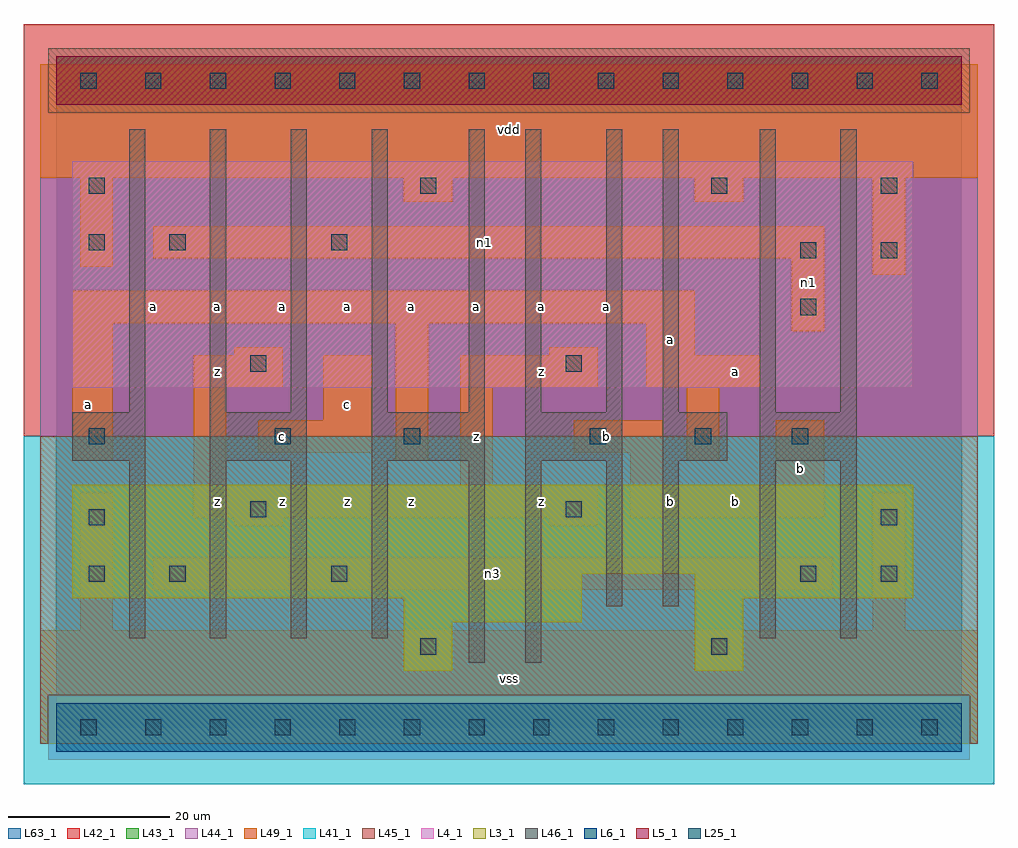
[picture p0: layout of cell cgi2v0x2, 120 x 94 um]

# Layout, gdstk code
import gdstk
lib = gdstk.Library(unit=1e-6, precision=1e-09)
def R(c, l, rs):  # rectangles x0, y0, x1, y1
    for r in rs: c.add(gdstk.rectangle(r[:2], r[2:], *l))
def A(c, l, x, y, w, h, nx, ny, dx, dy):  # array of equal rectangles
    R(c, l, [(x+i*dx, y+j*dy, x+i*dx+w, y+j*dy+h) for i in range(nx) for j in range(ny)])
L3_1 = (3, 1)
L4_1 = (4, 1)
L5_1 = (5, 1)
L6_1 = (6, 1)
L25_1 = (25, 1)
L41_1 = (41, 1)
L42_1 = (42, 1)
L43_1 = (43, 1)
L44_1 = (44, 1)
L45_1 = (45, 1)
L46_1 = (46, 1)
L49_1 = (49, 1)
L63_1 = (63, 1)

cgi2v0x2 = lib.new_cell('cgi2v0x2')
R(cgi2v0x2, L3_1, [(43,7,49,13), (79,7,85,16), (43,13,65,16), (2,16,65,19), (79,16,106,19), (2,19,106,30)])
R(cgi2v0x2, L4_1, [(2,42,106,70)])
R(cgi2v0x2, L5_1, [(0,77,112,83)])
R(cgi2v0x2, L6_1, [(0,-3,112,3), (0,-3,112,3)])
A(cgi2v0x2, L25_1, 3, -1, 2, 2, 14, 2, 8, 80)
R(cgi2v0x2, L25_1, [(45,9,47,11), (81,9,83,11), (4,18,6,20), (14,18,16,20), (34,18,36,20), (92,18,94,20), (102,18,104,20), (4,25,6,27), (102,25,104,27), (24,26,26,28), (63,26,65,28), (4,35,6,37), (27,35,29,37), (43,35,45,37), (66,35,68,37), (79,35,81,37), (91,35,93,37), (24,44,26,46), (63,44,65,46), (92,51,94,53), (92,58,94,60), (102,58,104,60), (4,59,6,61), (14,59,16,61), (34,59,36,61), (4,66,6,68), (45,66,47,68), (81,66,83,68), (102,66,104,68)])
R(cgi2v0x2, L41_1, [(-4,-7,116,36)])
R(cgi2v0x2, L42_1, [(-4,36,116,87)])
R(cgi2v0x2, L43_1, [(0,-3,112,3), (43,7,49,13), (79,7,85,16), (43,13,65,16), (2,16,65,19), (79,16,106,19), (2,19,106,30), (2,42,106,70), (0,77,112,83)])
R(cgi2v0x2, L44_1, [(-1,-4,113,4), (-2,36,114,76), (-2,76,-1,82), (113,76,114,82)])
R(cgi2v0x2, L45_1, [(-2,-2,-1,4), (113,-2,114,4), (-2,4,114,36), (-1,76,113,84)])
A(cgi2v0x2, L46_1, 9, 11, 2, 22, 4, 1, 10, 0)
A(cgi2v0x2, L46_1, 9, 39, 2, 35, 4, 1, 10, 0)
R(cgi2v0x2, L46_1, [(51,8,53,33), (58,8,60,33), (87,11,89,33), (97,11,99,33), (68,15,70,33), (75,15,77,33), (2,33,11,39), (19,33,31,39), (39,33,53,39), (58,33,70,39), (75,33,83,39), (87,33,99,39), (51,39,53,74), (58,39,60,74), (68,39,70,74), (75,39,77,74), (87,39,89,74), (97,39,99,74)])
R(cgi2v0x2, L49_1, [(-2,-2,114,12), (3,12,7,29), (101,12,105,29), (12,17,96,21), (22,25,28,26), (61,25,67,26), (17,26,67,30), (71,26,95,30), (17,30,21,42), (50,30,54,42), (71,30,75,34), (89,30,95,38), (2,33,7,50), (42,33,46,50), (78,33,82,42), (25,34,39,38), (64,34,75,38), (33,38,39,46), (17,42,28,46), (50,42,67,46), (73,42,87,46), (22,46,28,47), (61,46,67,47), (73,46,79,50), (91,49,95,58), (2,50,79,54), (101,56,105,68), (3,57,7,68), (12,58,95,62), (43,65,49,68), (79,65,85,68), (-2,68,114,82)])
R(cgi2v0x2, L63_1, [(0,0,112,80)])
cgi2v0x2.add(gdstk.Label('a', (4,40), layer=49, texttype=1))
cgi2v0x2.add(gdstk.Label('a', (12,52), layer=49, texttype=1))
cgi2v0x2.add(gdstk.Label('z', (20,28), layer=49, texttype=1))
cgi2v0x2.add(gdstk.Label('z', (36,28), layer=49, texttype=1))
cgi2v0x2.add(gdstk.Label('z', (28,28), layer=49, texttype=1))
cgi2v0x2.add(gdstk.Label('z', (20,44), layer=49, texttype=1))
cgi2v0x2.add(gdstk.Label('c', (36,40), layer=49, texttype=1))
cgi2v0x2.add(gdstk.Label('c', (28,36), layer=49, texttype=1))
cgi2v0x2.add(gdstk.Label('a', (36,52), layer=49, texttype=1))
cgi2v0x2.add(gdstk.Label('a', (28,52), layer=49, texttype=1))
cgi2v0x2.add(gdstk.Label('a', (20,52), layer=49, texttype=1))
cgi2v0x2.add(gdstk.Label('vss', (56,6), layer=49, texttype=1))
cgi2v0x2.add(gdstk.Label('z', (44,28), layer=49, texttype=1))
cgi2v0x2.add(gdstk.Label('z', (60,28), layer=49, texttype=1))
cgi2v0x2.add(gdstk.Label('z', (60,44), layer=49, texttype=1))
cgi2v0x2.add(gdstk.Label('z', (52,36), layer=49, texttype=1))
cgi2v0x2.add(gdstk.Label('a', (60,52), layer=49, texttype=1))
cgi2v0x2.add(gdstk.Label('a', (52,52), layer=49, texttype=1))
cgi2v0x2.add(gdstk.Label('a', (44,52), layer=49, texttype=1))
cgi2v0x2.add(gdstk.Label('vdd', (56,74), layer=49, texttype=1))
cgi2v0x2.add(gdstk.Label('b', (84,28), layer=49, texttype=1))
cgi2v0x2.add(gdstk.Label('b', (76,28), layer=49, texttype=1))
cgi2v0x2.add(gdstk.Label('b', (68,36), layer=49, texttype=1))
cgi2v0x2.add(gdstk.Label('a', (84,44), layer=49, texttype=1))
cgi2v0x2.add(gdstk.Label('a', (76,48), layer=49, texttype=1))
cgi2v0x2.add(gdstk.Label('a', (68,52), layer=49, texttype=1))
cgi2v0x2.add(gdstk.Label('n3', (54,19), layer=49, texttype=1))
cgi2v0x2.add(gdstk.Label('b', (92,32), layer=49, texttype=1))
cgi2v0x2.add(gdstk.Label('n1', (93,55), layer=49, texttype=1))
cgi2v0x2.add(gdstk.Label('n1', (53,60), layer=49, texttype=1))

lib.write_gds('cgi2v0x2.gds')
